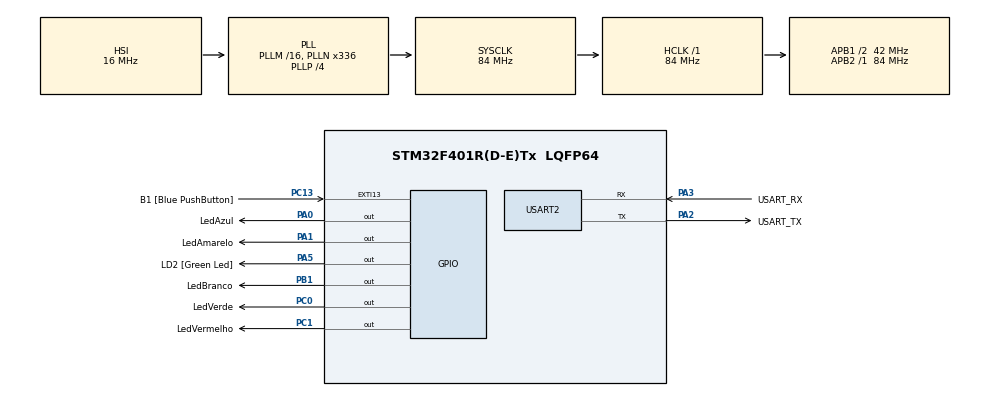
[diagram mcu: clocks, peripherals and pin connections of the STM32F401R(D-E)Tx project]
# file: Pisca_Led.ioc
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Mcu.Family=STM32F4
Mcu.Name=STM32F401R(D-E)Tx
Mcu.Package=LQFP64
NVIC.EXTI15_10_IRQn=true\:0\:0\:false\:false\:true\:true\:true\:true
NVIC.PriorityGroup=NVIC_PRIORITYGROUP_4
PA0-WKUP.GPIO_Label=LedAzul
PA0-WKUP.Signal=GPIO_Output
PA1.GPIO_Label=LedAmarelo
PA1.Signal=GPIO_Output
PA13.GPIO_Label=TMS
PA13.Mode=Trace_Asynchronous_SW
PA13.Signal=SYS_JTMS-SWDIO
PA14.GPIO_Label=TCK
PA14.Mode=Trace_Asynchronous_SW
PA14.Signal=SYS_JTCK-SWCLK
PA2.GPIO_Label=USART_TX
PA2.GPIO_Mode=GPIO_MODE_AF_PP
PA2.GPIO_PuPd=GPIO_NOPULL
PA2.GPIO_Speed=GPIO_SPEED_FREQ_LOW
PA2.Mode=Asynchronous
PA2.Signal=USART2_TX
PA3.GPIO_Label=USART_RX
PA3.GPIO_Mode=GPIO_MODE_AF_PP
PA3.GPIO_PuPd=GPIO_NOPULL
PA3.GPIO_Speed=GPIO_SPEED_FREQ_LOW
PA3.Mode=Asynchronous
PA3.Signal=USART2_RX
PA5.GPIO_Label=LD2 [Green Led]
PA5.GPIO_Mode=GPIO_MODE_OUTPUT_PP
PA5.GPIO_PuPd=GPIO_NOPULL
PA5.GPIO_Speed=GPIO_SPEED_FREQ_LOW
PA5.Signal=GPIO_Output
PB1.GPIO_Label=LedBranco
PB1.Signal=GPIO_Output
PB3.GPIO_Label=SWO
PB3.Mode=Trace_Asynchronous_SW
PB3.Signal=SYS_JTDO-SWO
PC0.GPIO_Label=LedVerde
PC0.Signal=GPIO_Output
PC1.GPIO_Label=LedVermelho
PC1.Signal=GPIO_Output
PC13-ANTI_TAMP.GPIO_Label=B1 [Blue PushButton]
PC13-ANTI_TAMP.GPIO_ModeDefaultEXTI=GPIO_MODE_IT_FALLING
PC13-ANTI_TAMP.GPIO_PuPd=GPIO_NOPULL
PC13-ANTI_TAMP.Signal=GPXTI13
PC14-OSC32_IN.Mode=LSE-External-Oscillator
PC14-OSC32_IN.Signal=RCC_OSC32_IN
PC15-OSC32_OUT.Mode=LSE-External-Oscillator
PC15-OSC32_OUT.Signal=RCC_OSC32_OUT
PH0\ -\ OSC_IN.Mode=HSE-External-Clock-Source
PH0\ -\ OSC_IN.Signal=RCC_OSC_IN
PH1\ -\ OSC_OUT.Mode=HSE-External-Clock-Source
PH1\ -\ OSC_OUT.Signal=RCC_OSC_OUT
ProjectManager.HeapSize=0x200
ProjectManager.StackSize=0x400
ProjectManager.TargetToolchain=STM32CubeIDE
RCC.48MHZClocksFreq_Value=48000000
RCC.AHBFreq_Value=84000000
RCC.APB1CLKDivider=RCC_HCLK_DIV2
RCC.APB1Freq_Value=42000000
RCC.APB1TimFreq_Value=84000000
RCC.APB2Freq_Value=84000000
RCC.APB2TimFreq_Value=84000000
RCC.CortexFreq_Value=84000000
RCC.HCLKFreq_Value=84000000
RCC.HSE_VALUE=8000000
RCC.HSI_VALUE=16000000
RCC.PLLN=336
RCC.PLLP=RCC_PLLP_DIV4
RCC.PLLQ=7
RCC.SYSCLKFreq_VALUE=84000000
RCC.SYSCLKSource=RCC_SYSCLKSOURCE_PLLCLK
RCC.VCOOutputFreq_Value=336000000
USART2.VirtualMode=VM_ASYNC
board=NUCLEO-F401RE

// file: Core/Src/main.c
/* USER CODE BEGIN Header */
/**
  ******************************************************************************
  * @file           : main.c
  * @brief          : Main program body
  ******************************************************************************
  * @attention
  *
  * Copyright (c) 2026 STMicroelectronics.
  * All rights reserved.
  *
  * This software is licensed under terms that can be found in the LICENSE file
  * in the root directory of this software component.
  * If no LICENSE file comes with this software, it is provided AS-IS.
  *
  ******************************************************************************
  */
/* USER CODE END Header */
#include "main.h"

UART_HandleTypeDef huart2;

void SystemClock_Config(void);
static void MX_GPIO_Init(void);
static void MX_USART2_UART_Init(void);

/* USER CODE BEGIN 0 */
   int contador = 100; // Variável globa
/* USER CODE END 0 */

int main(void)
{

  /* MCU Configuration--------------------------------------------------------*/

  /* Reset of all peripherals, Initializes the Flash interface and the Systick. */
  HAL_Init();

  /* Configure the system clock */
  SystemClock_Config();

  /* Initialize all configured peripherals */
  MX_GPIO_Init();
  MX_USART2_UART_Init();

  /* Infinite loop */
  while (1)
  {

    /* USER CODE BEGIN 3 */

	  //Led da propria NUCLEO
	  HAL_GPIO_TogglePin(GPIOA, LD2_Pin);
	      HAL_Delay(contador);

	  //Led Vermelhor PC1
	  HAL_GPIO_TogglePin(GPIOC, LedVermelho_Pin);
	  	  HAL_Delay(contador);

	  //Led Verde PC0
	  HAL_GPIO_TogglePin(GPIOC, LedVerde_Pin);
	  	  HAL_Delay(contador);

	  //Led Azul PA0
	  HAL_GPIO_TogglePin(GPIOA, LedAzul_Pin);
	      HAL_Delay(contador);

      //Led Amarelo PA1
      HAL_GPIO_TogglePin(GPIOA, LedAmarelo_Pin);
      	  HAL_Delay(contador);

      //Led Branco PB1
      HAL_GPIO_TogglePin(GPIOB, LedBranco_Pin);
      	  HAL_Delay(contador);

  }
  /* USER CODE END 3 */
}

void SystemClock_Config(void)
{
  RCC_OscInitTypeDef RCC_OscInitStruct = {0};
  RCC_ClkInitTypeDef RCC_ClkInitStruct = {0};

  /** Configure the main internal regulator output voltage
  */
  __HAL_RCC_PWR_CLK_ENABLE();
  __HAL_PWR_VOLTAGESCALING_CONFIG(PWR_REGULATOR_VOLTAGE_SCALE2);

  /** Initializes the RCC Oscillators according to the specified parameters
  * in the RCC_OscInitTypeDef structure.
  */
  RCC_OscInitStruct.OscillatorType = RCC_OSCILLATORTYPE_HSI;
  RCC_OscInitStruct.HSIState = RCC_HSI_ON;
  RCC_OscInitStruct.HSICalibrationValue = RCC_HSICALIBRATION_DEFAULT;
  RCC_OscInitStruct.PLL.PLLState = RCC_PLL_ON;
  RCC_OscInitStruct.PLL.PLLSource = RCC_PLLSOURCE_HSI;
  RCC_OscInitStruct.PLL.PLLM = 16;
  RCC_OscInitStruct.PLL.PLLN = 336;
  RCC_OscInitStruct.PLL.PLLP = RCC_PLLP_DIV4;
  RCC_OscInitStruct.PLL.PLLQ = 7;
  if (HAL_RCC_OscConfig(&RCC_OscInitStruct) != HAL_OK)
  {
    Error_Handler();
  }

  /** Initializes the CPU, AHB and APB buses clocks
  */
  RCC_ClkInitStruct.ClockType = RCC_CLOCKTYPE_HCLK|RCC_CLOCKTYPE_SYSCLK
                              |RCC_CLOCKTYPE_PCLK1|RCC_CLOCKTYPE_PCLK2;
  RCC_ClkInitStruct.SYSCLKSource = RCC_SYSCLKSOURCE_PLLCLK;
  RCC_ClkInitStruct.AHBCLKDivider = RCC_SYSCLK_DIV1;
  RCC_ClkInitStruct.APB1CLKDivider = RCC_HCLK_DIV2;
  RCC_ClkInitStruct.APB2CLKDivider = RCC_HCLK_DIV1;

  if (HAL_RCC_ClockConfig(&RCC_ClkInitStruct, FLASH_LATENCY_2) != HAL_OK)
  {
    Error_Handler();
  }
}

static void MX_USART2_UART_Init(void)
{

  huart2.Instance = USART2;
  huart2.Init.BaudRate = 115200;
  huart2.Init.WordLength = UART_WORDLENGTH_8B;
  huart2.Init.StopBits = UART_STOPBITS_1;
  huart2.Init.Parity = UART_PARITY_NONE;
  huart2.Init.Mode = UART_MODE_TX_RX;
  huart2.Init.HwFlowCtl = UART_HWCONTROL_NONE;
  huart2.Init.OverSampling = UART_OVERSAMPLING_16;
  if (HAL_UART_Init(&huart2) != HAL_OK)
  {
    Error_Handler();
  }

}

static void MX_GPIO_Init(void)
{
  GPIO_InitTypeDef GPIO_InitStruct = {0};

  /* GPIO Ports Clock Enable */
  __HAL_RCC_GPIOC_CLK_ENABLE();
  __HAL_RCC_GPIOH_CLK_ENABLE();
  __HAL_RCC_GPIOA_CLK_ENABLE();
  __HAL_RCC_GPIOB_CLK_ENABLE();

  /*Configure GPIO pin Output Level */
  HAL_GPIO_WritePin(GPIOC, LedVerde_Pin|LedVermelho_Pin, GPIO_PIN_RESET);

  /*Configure GPIO pin Output Level */
  HAL_GPIO_WritePin(GPIOA, LedAzul_Pin|LedAmarelo_Pin|LD2_Pin, GPIO_PIN_RESET);

  /*Configure GPIO pin Output Level */
  HAL_GPIO_WritePin(LedBranco_GPIO_Port, LedBranco_Pin, GPIO_PIN_RESET);

  /*Configure GPIO pin : B1_Pin */
  GPIO_InitStruct.Pin = B1_Pin;
  GPIO_InitStruct.Mode = GPIO_MODE_IT_FALLING;
  GPIO_InitStruct.Pull = GPIO_NOPULL;
  HAL_GPIO_Init(B1_GPIO_Port, &GPIO_InitStruct);

  /*Configure GPIO pins : LedVerde_Pin LedVermelho_Pin */
  GPIO_InitStruct.Pin = LedVerde_Pin|LedVermelho_Pin;
  GPIO_InitStruct.Mode = GPIO_MODE_OUTPUT_PP;
  GPIO_InitStruct.Pull = GPIO_NOPULL;
  GPIO_InitStruct.Speed = GPIO_SPEED_FREQ_LOW;
  HAL_GPIO_Init(GPIOC, &GPIO_InitStruct);

  /*Configure GPIO pins : LedAzul_Pin LedAmarelo_Pin LD2_Pin */
  GPIO_InitStruct.Pin = LedAzul_Pin|LedAmarelo_Pin|LD2_Pin;
  GPIO_InitStruct.Mode = GPIO_MODE_OUTPUT_PP;
  GPIO_InitStruct.Pull = GPIO_NOPULL;
  GPIO_InitStruct.Speed = GPIO_SPEED_FREQ_LOW;
  HAL_GPIO_Init(GPIOA, &GPIO_InitStruct);

  /*Configure GPIO pin : LedBranco_Pin */
  GPIO_InitStruct.Pin = LedBranco_Pin;
  GPIO_InitStruct.Mode = GPIO_MODE_OUTPUT_PP;
  GPIO_InitStruct.Pull = GPIO_NOPULL;
  GPIO_InitStruct.Speed = GPIO_SPEED_FREQ_LOW;
  HAL_GPIO_Init(LedBranco_GPIO_Port, &GPIO_InitStruct);

  /* EXTI interrupt init*/
  HAL_NVIC_SetPriority(EXTI15_10_IRQn, 0, 0);
  HAL_NVIC_EnableIRQ(EXTI15_10_IRQn);

}

/* USER CODE BEGIN 4 */

	//interrrupição aula
	void HAL_GPIO_EXTI_Callback(uint16_t GPIO_Pin)
	{
	 /* Prevent unused argument(s) compilation warning */
	 UNUSED(GPIO_Pin);

	 if (GPIO_Pin == B1_Pin) {
		 contador = contador + 50;

	}

 	}

/* USER CODE END 4 */

void Error_Handler(void)
{
  __disable_irq();
  while (1)
  {
  }
}
